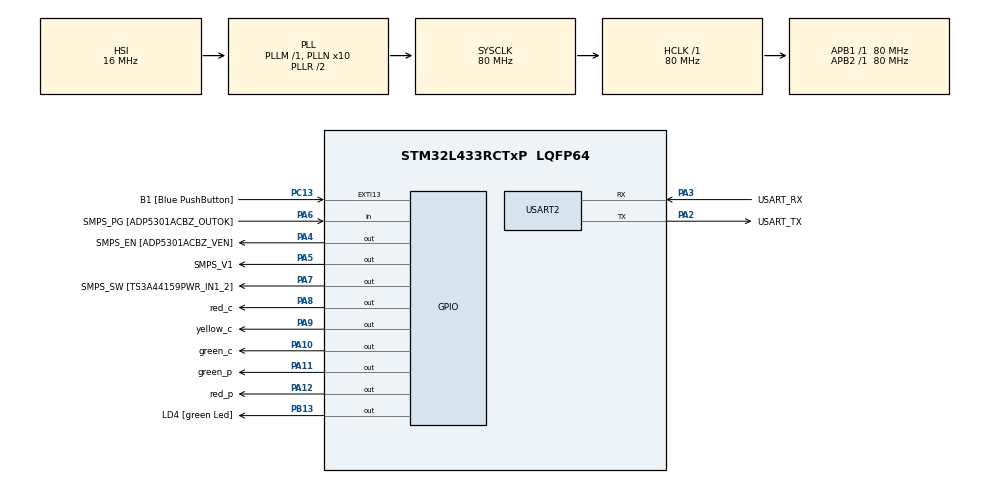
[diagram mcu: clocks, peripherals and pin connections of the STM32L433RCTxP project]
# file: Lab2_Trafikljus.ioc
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Mcu.Family=STM32L4
Mcu.Name=STM32L433RCTxP
Mcu.Package=LQFP64
NVIC.EXTI15_10_IRQn=true\:0\:0\:false\:false\:true\:true\:true\:true
NVIC.PriorityGroup=NVIC_PRIORITYGROUP_4
PA10.GPIO_Label=green_c
PA10.Signal=GPIO_Output
PA11.GPIO_Label=green_p
PA11.Signal=GPIO_Output
PA12.GPIO_Label=red_p
PA12.Signal=GPIO_Output
PA13\ (JTMS-SWDIO).GPIO_Label=TMS
PA13\ (JTMS-SWDIO).Mode=Serial_Wire
PA13\ (JTMS-SWDIO).Signal=SYS_JTMS-SWDIO
PA14\ (JTCK-SWCLK).GPIO_Label=TCK
PA14\ (JTCK-SWCLK).Mode=Serial_Wire
PA14\ (JTCK-SWCLK).Signal=SYS_JTCK-SWCLK
PA2.GPIO_Label=USART_TX
PA2.GPIO_Mode=GPIO_MODE_AF_PP
PA2.GPIO_PuPd=GPIO_NOPULL
PA2.GPIO_Speed=GPIO_SPEED_FREQ_VERY_HIGH
PA2.Mode=Asynchronous
PA2.Signal=USART2_TX
PA3.GPIO_Label=USART_RX
PA3.GPIO_Mode=GPIO_MODE_AF_PP
PA3.GPIO_PuPd=GPIO_NOPULL
PA3.GPIO_Speed=GPIO_SPEED_FREQ_VERY_HIGH
PA3.Mode=Asynchronous
PA3.Signal=USART2_RX
PA4.GPIO_Label=SMPS_EN [ADP5301ACBZ_VEN]
PA4.Signal=GPIO_Output
PA5.GPIO_Label=SMPS_V1
PA5.GPIO_ModeDefaultOutputPP=GPIO_MODE_OUTPUT_PP
PA5.GPIO_PuPd=GPIO_NOPULL
PA5.GPIO_Speed=GPIO_SPEED_FREQ_LOW
PA5.Signal=GPIO_Output
PA6.GPIO_Label=SMPS_PG [ADP5301ACBZ_OUTOK]
PA6.GPIO_PuPd=GPIO_PULLUP
PA6.Signal=GPIO_Input
PA7.GPIO_Label=SMPS_SW [TS3A44159PWR_IN1_2]
PA7.Signal=GPIO_Output
PA8.GPIO_Label=red_c
PA8.Signal=GPIO_Output
PA9.GPIO_Label=yellow_c
PA9.Signal=GPIO_Output
PB13.GPIO_Label=LD4 [green Led]
PB13.Signal=GPIO_Output
PB3\ (JTDO-TRACESWO).GPIO_Label=SWO
PB3\ (JTDO-TRACESWO).Signal=SYS_JTDO-SWO
PC13.GPIO_Label=B1 [Blue PushButton]
PC13.GPIO_ModeDefaultEXTI=GPIO_MODE_IT_FALLING
PC13.GPIO_PuPd=GPIO_NOPULL
PC13.Signal=GPXTI13
PC14-OSC32_IN\ (PC14).Mode=LSE-External-Oscillator
PC14-OSC32_IN\ (PC14).Signal=RCC_OSC32_IN
PC15-OSC32_OUT\ (PC15).Mode=LSE-External-Oscillator
PC15-OSC32_OUT\ (PC15).Signal=RCC_OSC32_OUT
PH0-OSC_IN\ (PH0).GPIO_Label=MCO
PH0-OSC_IN\ (PH0).Mode=HSE-External-Clock-Source
PH0-OSC_IN\ (PH0).Signal=RCC_OSC_IN
PH1-OSC_OUT\ (PH1).Signal=RCC_OSC_OUT
ProjectManager.HeapSize=0x200
ProjectManager.StackSize=0x400
ProjectManager.TargetToolchain=STM32CubeIDE
RCC.ADCFreq_Value=64000000
RCC.AHBFreq_Value=80000000
RCC.APB1Freq_Value=80000000
RCC.APB1TimFreq_Value=80000000
RCC.APB2Freq_Value=80000000
RCC.APB2TimFreq_Value=80000000
RCC.CortexFreq_Value=80000000
RCC.HCLKFreq_Value=80000000
RCC.HSE_VALUE=8000000
RCC.HSI48_VALUE=48000000
RCC.HSI_VALUE=16000000
RCC.MSI_VALUE=4000000
RCC.PLLN=10
RCC.PLLSourceVirtual=RCC_PLLSOURCE_HSI
RCC.PREFETCH_ENABLE=1
RCC.SYSCLKFreq_VALUE=80000000
RCC.SYSCLKSource=RCC_SYSCLKSOURCE_PLLCLK
RCC.USBFreq_Value=64000000
RCC.VCOOutputFreq_Value=160000000
USART2.VirtualMode-Asynchronous=VM_ASYNC
board=NUCLEO-L433RC-P

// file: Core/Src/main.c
/* USER CODE BEGIN Header */
/**
  ******************************************************************************
  * @file           : main.c
  * @brief          : Main program body
  ******************************************************************************
  * @attention
  *
  * Copyright (c) 2025 STMicroelectronics.
  * All rights reserved.
  *
  * This software is licensed under terms that can be found in the LICENSE file
  * in the root directory of this software component.
  * If no LICENSE file comes with this software, it is provided AS-IS.
  *
  ******************************************************************************
  */
/* USER CODE END Header */
#include "main.h"

/* USER CODE BEGIN PTD */
enum event {
	ev_none = 0,
	ev_button_push,
	ev_state_timeout
};

enum state {
	s_init,
	s_cars_go,
	s_pushed_wait,
	s_cars_stopping,
	s_cars_stop,
	s_people_go,
	s_people_stop,
	s_cars_wait
};
/* USER CODE END PTD */

UART_HandleTypeDef huart2;

/* USER CODE BEGIN PV */
int pressed = 0;
/* USER CODE END PV */

void SystemClock_Config(void);
static void MX_GPIO_Init(void);
static void MX_USART2_UART_Init(void);
/* USER CODE BEGIN PFP */
void set_traffic_lights(enum state s);
int is_blue_button_pressed();
/* USER CODE END PFP */

/* USER CODE BEGIN 0 */
int is_blue_button_pressed()
{
	return(GPIOC->IDR & B1_Pin) > 0  ? 1 : 0;
}

void set_traffic_light(enum state s) {
	switch (s) {
	case s_init:

		HAL_GPIO_WritePin(GPIOA, red_c_Pin, GPIO_PIN_SET);
		HAL_GPIO_WritePin(GPIOA, yellow_c_Pin, GPIO_PIN_SET);
		HAL_GPIO_WritePin(GPIOA, green_c_Pin, GPIO_PIN_SET);
		HAL_GPIO_WritePin(GPIOA, red_p_Pin, GPIO_PIN_SET);
		HAL_GPIO_WritePin(GPIOA, green_p_Pin, GPIO_PIN_SET);

		break;
	case s_cars_stop:

		HAL_GPIO_WritePin(GPIOA, red_c_Pin, GPIO_PIN_SET);
		HAL_GPIO_WritePin(GPIOA, yellow_c_Pin, GPIO_PIN_RESET);
		HAL_GPIO_WritePin(GPIOA, green_c_Pin, GPIO_PIN_RESET);
		HAL_GPIO_WritePin(GPIOA, red_p_Pin, GPIO_PIN_SET);
		HAL_GPIO_WritePin(GPIOA, green_p_Pin, GPIO_PIN_RESET);

		break;
	case s_people_go:

		HAL_GPIO_WritePin(GPIOA, red_c_Pin, GPIO_PIN_SET);
		HAL_GPIO_WritePin(GPIOA, yellow_c_Pin, GPIO_PIN_RESET);
		HAL_GPIO_WritePin(GPIOA, green_c_Pin, GPIO_PIN_RESET);
		HAL_GPIO_WritePin(GPIOA, red_p_Pin, GPIO_PIN_RESET);
		HAL_GPIO_WritePin(GPIOA, green_p_Pin, GPIO_PIN_SET);

		break;
	case s_people_stop:

		HAL_GPIO_WritePin(GPIOA, red_c_Pin, GPIO_PIN_SET);
		HAL_GPIO_WritePin(GPIOA, yellow_c_Pin, GPIO_PIN_RESET);
		HAL_GPIO_WritePin(GPIOA, green_c_Pin, GPIO_PIN_RESET);
		HAL_GPIO_WritePin(GPIOA, red_p_Pin, GPIO_PIN_SET);
		HAL_GPIO_WritePin(GPIOA, green_p_Pin, GPIO_PIN_RESET);

		break;
	case s_cars_wait:

		HAL_GPIO_WritePin(GPIOA, red_c_Pin, GPIO_PIN_SET);
		HAL_GPIO_WritePin(GPIOA, yellow_c_Pin, GPIO_PIN_SET);
		HAL_GPIO_WritePin(GPIOA, green_c_Pin, GPIO_PIN_RESET);
		HAL_GPIO_WritePin(GPIOA, red_p_Pin, GPIO_PIN_SET);
		HAL_GPIO_WritePin(GPIOA, green_p_Pin, GPIO_PIN_RESET);

		break;
	case s_cars_go:

		HAL_GPIO_WritePin(GPIOA, red_c_Pin, GPIO_PIN_RESET);
		HAL_GPIO_WritePin(GPIOA, yellow_c_Pin, GPIO_PIN_RESET);
		HAL_GPIO_WritePin(GPIOA, green_c_Pin, GPIO_PIN_SET);
		HAL_GPIO_WritePin(GPIOA, red_p_Pin, GPIO_PIN_SET);
		HAL_GPIO_WritePin(GPIOA, green_p_Pin, GPIO_PIN_RESET);

		break;
	case s_pushed_wait:

		HAL_GPIO_WritePin(GPIOA, red_c_Pin, GPIO_PIN_RESET);
		HAL_GPIO_WritePin(GPIOA, yellow_c_Pin, GPIO_PIN_RESET);
		HAL_GPIO_WritePin(GPIOA, green_c_Pin, GPIO_PIN_SET);
		HAL_GPIO_WritePin(GPIOA, red_p_Pin, GPIO_PIN_SET);
		HAL_GPIO_WritePin(GPIOA, green_p_Pin, GPIO_PIN_RESET);

		break;
	case s_cars_stopping:

		HAL_GPIO_WritePin(GPIOA, red_c_Pin, GPIO_PIN_RESET);
		HAL_GPIO_WritePin(GPIOA, yellow_c_Pin, GPIO_PIN_SET);
		HAL_GPIO_WritePin(GPIOA, green_c_Pin, GPIO_PIN_RESET);
		HAL_GPIO_WritePin(GPIOA, red_p_Pin, GPIO_PIN_SET);
		HAL_GPIO_WritePin(GPIOA, green_p_Pin, GPIO_PIN_RESET);

		break;
	default:
		return;
		break;
	}
}
/* USER CODE END 0 */

int main(void)
{

  /* MCU Configuration--------------------------------------------------------*/

  /* Reset of all peripherals, Initializes the Flash interface and the Systick. */
  HAL_Init();

  /* Configure the system clock */
  SystemClock_Config();

  /* Initialize all configured peripherals */
  MX_GPIO_Init();
  MX_USART2_UART_Init();

  /* Infinite loop */
  /* USER CODE BEGIN WHILE */

  enum state st;
  enum event ev;

  int curr_press = is_blue_button_pressed();
  int last_press = curr_press;

  while (1)
  {
	  ev = ev_none;
	  st = s_init;

	  switch (st) {

		case s_init:
			if(ev == ev_button_push){
				ev = ev_none;
				st = s_cars_stop;
				tick_left_in_state = 2500;
				set_traffic_light(st);
			}

			break;

		case s_cars_stop:
			if(ev == ev_state_timeout){
				st = s_people_go;
			}

			break;
		case s_people_go:
			if(ev == ev_state_timeout){
				st = s_people_stop;
			}

			break;
		case s_people_stop:
			if(ev == ev_state_timeout){
				st = s_cars_wait;
			}

			break;
		case s_cars_wait:
			if(ev == ev_state_timeout){
				st = s_cars_go;
			}

			break;
		case s_cars_go:
			if(ev == ev_button_push){
				st = s_pushed_wait;
			}

			break;
		case s_pushed_wait:
			if(ev == ev_state_timeout){
				st = s_cars_stopping;
			}

			break;
		case s_cars_stopping:
			if(ev == ev_state_timeout){
				st = s_cars_stop;
			}

			break;

		}

    /* USER CODE END WHILE */

  }
}

void SystemClock_Config(void)
{
  RCC_OscInitTypeDef RCC_OscInitStruct = {0};
  RCC_ClkInitTypeDef RCC_ClkInitStruct = {0};

  /** Configure the main internal regulator output voltage
  */
  if (HAL_PWREx_ControlVoltageScaling(PWR_REGULATOR_VOLTAGE_SCALE1) != HAL_OK)
  {
    Error_Handler();
  }

  /** Initializes the RCC Oscillators according to the specified parameters
  * in the RCC_OscInitTypeDef structure.
  */
  RCC_OscInitStruct.OscillatorType = RCC_OSCILLATORTYPE_HSI;
  RCC_OscInitStruct.HSIState = RCC_HSI_ON;
  RCC_OscInitStruct.HSICalibrationValue = RCC_HSICALIBRATION_DEFAULT;
  RCC_OscInitStruct.PLL.PLLState = RCC_PLL_ON;
  RCC_OscInitStruct.PLL.PLLSource = RCC_PLLSOURCE_HSI;
  RCC_OscInitStruct.PLL.PLLM = 1;
  RCC_OscInitStruct.PLL.PLLN = 10;
  RCC_OscInitStruct.PLL.PLLP = RCC_PLLP_DIV7;
  RCC_OscInitStruct.PLL.PLLQ = RCC_PLLQ_DIV2;
  RCC_OscInitStruct.PLL.PLLR = RCC_PLLR_DIV2;
  if (HAL_RCC_OscConfig(&RCC_OscInitStruct) != HAL_OK)
  {
    Error_Handler();
  }

  /** Initializes the CPU, AHB and APB buses clocks
  */
  RCC_ClkInitStruct.ClockType = RCC_CLOCKTYPE_HCLK|RCC_CLOCKTYPE_SYSCLK
                              |RCC_CLOCKTYPE_PCLK1|RCC_CLOCKTYPE_PCLK2;
  RCC_ClkInitStruct.SYSCLKSource = RCC_SYSCLKSOURCE_PLLCLK;
  RCC_ClkInitStruct.AHBCLKDivider = RCC_SYSCLK_DIV1;
  RCC_ClkInitStruct.APB1CLKDivider = RCC_HCLK_DIV1;
  RCC_ClkInitStruct.APB2CLKDivider = RCC_HCLK_DIV1;

  if (HAL_RCC_ClockConfig(&RCC_ClkInitStruct, FLASH_LATENCY_4) != HAL_OK)
  {
    Error_Handler();
  }
}

static void MX_USART2_UART_Init(void)
{

  huart2.Instance = USART2;
  huart2.Init.BaudRate = 115200;
  huart2.Init.WordLength = UART_WORDLENGTH_8B;
  huart2.Init.StopBits = UART_STOPBITS_1;
  huart2.Init.Parity = UART_PARITY_NONE;
  huart2.Init.Mode = UART_MODE_TX_RX;
  huart2.Init.HwFlowCtl = UART_HWCONTROL_NONE;
  huart2.Init.OverSampling = UART_OVERSAMPLING_16;
  huart2.Init.OneBitSampling = UART_ONE_BIT_SAMPLE_DISABLE;
  huart2.AdvancedInit.AdvFeatureInit = UART_ADVFEATURE_NO_INIT;
  if (HAL_UART_Init(&huart2) != HAL_OK)
  {
    Error_Handler();
  }

}

static void MX_GPIO_Init(void)
{
  GPIO_InitTypeDef GPIO_InitStruct = {0};

  /* GPIO Ports Clock Enable */
  __HAL_RCC_GPIOC_CLK_ENABLE();
  __HAL_RCC_GPIOH_CLK_ENABLE();
  __HAL_RCC_GPIOA_CLK_ENABLE();
  __HAL_RCC_GPIOB_CLK_ENABLE();

  /*Configure GPIO pin Output Level */
  HAL_GPIO_WritePin(GPIOA, SMPS_EN_Pin|SMPS_V1_Pin|SMPS_SW_Pin|red_c_Pin
                          |yellow_c_Pin|green_c_Pin|green_p_Pin|red_p_Pin, GPIO_PIN_RESET);

  /*Configure GPIO pin Output Level */
  HAL_GPIO_WritePin(LD4_GPIO_Port, LD4_Pin, GPIO_PIN_RESET);

  /*Configure GPIO pin : B1_Pin */
  GPIO_InitStruct.Pin = B1_Pin;
  GPIO_InitStruct.Mode = GPIO_MODE_IT_FALLING;
  GPIO_InitStruct.Pull = GPIO_NOPULL;
  HAL_GPIO_Init(B1_GPIO_Port, &GPIO_InitStruct);

  /*Configure GPIO pins : SMPS_EN_Pin SMPS_V1_Pin SMPS_SW_Pin red_c_Pin
                           yellow_c_Pin green_c_Pin green_p_Pin red_p_Pin */
  GPIO_InitStruct.Pin = SMPS_EN_Pin|SMPS_V1_Pin|SMPS_SW_Pin|red_c_Pin
                          |yellow_c_Pin|green_c_Pin|green_p_Pin|red_p_Pin;
  GPIO_InitStruct.Mode = GPIO_MODE_OUTPUT_PP;
  GPIO_InitStruct.Pull = GPIO_NOPULL;
  GPIO_InitStruct.Speed = GPIO_SPEED_FREQ_LOW;
  HAL_GPIO_Init(GPIOA, &GPIO_InitStruct);

  /*Configure GPIO pin : SMPS_PG_Pin */
  GPIO_InitStruct.Pin = SMPS_PG_Pin;
  GPIO_InitStruct.Mode = GPIO_MODE_INPUT;
  GPIO_InitStruct.Pull = GPIO_PULLUP;
  HAL_GPIO_Init(SMPS_PG_GPIO_Port, &GPIO_InitStruct);

  /*Configure GPIO pin : LD4_Pin */
  GPIO_InitStruct.Pin = LD4_Pin;
  GPIO_InitStruct.Mode = GPIO_MODE_OUTPUT_PP;
  GPIO_InitStruct.Pull = GPIO_NOPULL;
  GPIO_InitStruct.Speed = GPIO_SPEED_FREQ_LOW;
  HAL_GPIO_Init(LD4_GPIO_Port, &GPIO_InitStruct);

}

void Error_Handler(void)
{
  __disable_irq();
  while (1)
  {
  }
}
